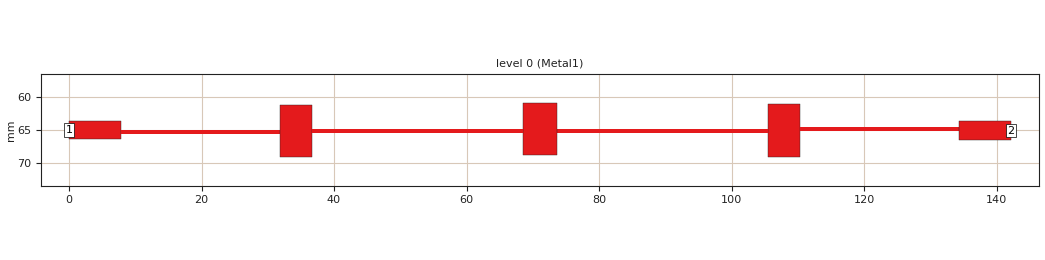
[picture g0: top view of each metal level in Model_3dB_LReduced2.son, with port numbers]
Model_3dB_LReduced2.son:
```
FTYP SONPROJ 19 ! Sonnet Project File
VER 18.53
HEADER
LIC SL65a9b7de
DAT 04/20/2024 16:36:40
BUILT_BY_CREATED xgeom 18.53-Lite 04/20/2024 16:17:31
BUILT_BY_SAVED sonnet 18.53-Lite
MDATE 04/20/2024 16:36:30
HDATE 04/20/2024 16:36:30
END HEADER
DIM
ANG DEG
CAP PF
CON /OH
FREQ GHZ
IND NH
LNG MM
RES OH
END DIM
CONTROL
VARSWP
OPTIONS  -d
SPEED 0
CACHE_ABS 2
Q_ACC N
END CONTROL
GEO
TMET "Lossless" 0 SUP 0 0 0 0
BMET "Lossless" 0 SUP 0 0 0 0
BOX 1 142.2 130 2844 2600 20 0
      1.524 1 1 0 0 0 0 "Air"
      0.035 1 1 0 0 0 0 "FR-4"
TECHLAY METAL Metal1 <UNSPECIFIED> -2 -65534 
0 0 -1 N 9 1 1 100 100 0 0 0 Y
END
END
LORGN 0 130 U 
POR1 BOX
POLY 42 1
3
1 50 0 0 0 0.01631779053 65.00137962 
POR1 BOX
POLY 106 1
1
2 50 0 0 0 142.1836822 65.10137962 
NUM 9
0 5 -1 N 42 1 1 100 100 0 0 0 Y
TLAYNAM Metal1 INH
0.01631779053 63.60137962
7.838094973 63.60137962
7.838094973 66.40137962
0.01631779053 66.40137962
0.01631779053 63.60137962
END
0 5 -1 N 43 1 1 100 100 0 0 0 Y
TLAYNAM Metal1 INH
105.526797 61.12219693
110.326797 61.12219693
110.326797 69.02219693
105.526797 69.02219693
105.526797 61.12219693
END
0 5 -1 N 44 1 1 100 100 0 0 0 Y
TLAYNAM Metal1 INH
7.839144123 64.95120575
31.83914412 64.95120575
31.83914412 65.55120575
7.839144123 65.55120575
7.839144123 64.95120575
END
0 5 -1 N 45 1 1 100 100 0 0 0 Y
TLAYNAM Metal1 INH
73.64069851 64.82219693
105.5406985 64.82219693
105.5406985 65.42219693
73.64069851 65.42219693
73.64069851 64.82219693
END
0 5 -1 N 46 1 1 100 100 0 0 0 Y
TLAYNAM Metal1 INH
110.3399462 64.53609847
134.3399462 64.53609847
134.3399462 65.13609847
110.3399462 65.13609847
110.3399462 64.53609847
END
0 5 -1 N 47 1 1 100 100 0 0 0 Y
TLAYNAM Metal1 INH
31.82978782 61.23609847
36.62978782 61.23609847
36.62978782 69.13609847
31.82978782 69.13609847
31.82978782 61.23609847
END
0 5 -1 N 48 1 1 100 100 0 0 0 Y
TLAYNAM Metal1 INH
68.51020618 60.86390153
73.61020618 60.86390153
73.61020618 68.76390153
68.51020618 68.76390153
68.51020618 60.86390153
END
0 5 -1 N 49 1 1 100 100 0 0 0 Y
TLAYNAM Metal1 INH
36.62978782 64.83609847
68.52978782 64.83609847
68.52978782 65.43609847
36.62978782 65.43609847
36.62978782 64.83609847
END
0 5 -1 N 106 1 1 100 100 0 0 0 Y
TLAYNAM Metal1 INH
134.361905 63.70137962
142.1836822 63.70137962
142.1836822 66.50137962
134.361905 66.50137962
134.361905 63.70137962
END
END GEO
OPT
MAX 100
END OPT
VARSWP
ENABLED Y
FREQ Y AY ABS_ENTRY UNK 
END
END VARSWP
TRANSLATOR
DXFEXPORT
UseTLs true
SepObj true
SepMat true
DivideMulti false
Circles false
CircleType inscribed
CircleSize 0
KeepMetals true
KeepVias true
KeepViaPads true
KeepBricks true
KeepEdgeVias true
KeepParent true
ConvertParent false
AllEdgeViasAsVia false
END
END TRANSLATOR
```
